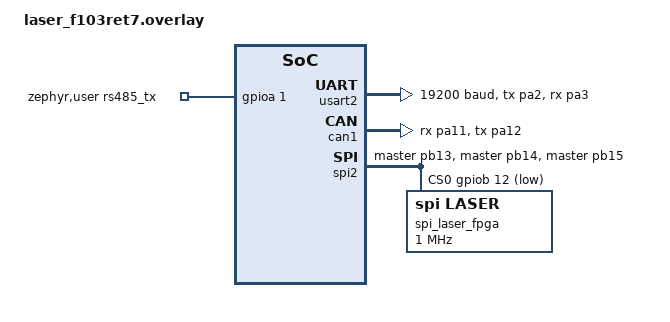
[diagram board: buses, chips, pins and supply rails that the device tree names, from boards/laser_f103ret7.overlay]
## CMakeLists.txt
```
# SPDX-License-Identifier: Apache-2.0

cmake_minimum_required(VERSION 3.20.0)

find_package(Zephyr REQUIRED HINTS $ENV{ZEPHYR_BASE})
project(laser_ctrl)

target_include_directories(app PRIVATE include)
target_sources(app PRIVATE
  src/main.c
  src/rs485.c
  src/flash.c
  src/can.c
  src/firmware.c
)

dt_nodelabel(dts_partition_path NODELABEL "spi_laser_fpga")
if (DEFINED dts_partition_path)
  target_sources(app PRIVATE src/fpga_spi.c)
endif()
```

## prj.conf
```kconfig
CONFIG_EVENTS=y
CONFIG_SYSTEM_WORKQUEUE_STACK_SIZE=2048

# shell
CONFIG_SHELL=y
CONFIG_FLASH_MAP_SHELL=y
CONFIG_FLASH_SHELL=y

# log
CONFIG_LOG=y

# can
CONFIG_CAN=y
CONFIG_CAN_SHELL=y

# img
CONFIG_IMG_MANAGER=y
CONFIG_STREAM_FLASH=y

# reboot
CONFIG_REBOOT=y
```

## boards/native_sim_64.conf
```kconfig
CONFIG_FLASH=y
CONFIG_FLASH_MAP=y
CONFIG_STREAM_FLASH=y
CONFIG_NVS=y
CONFIG_SETTINGS=y
CONFIG_SETTINGS_NVS=y
CONFIG_MAIN_STACK_SIZE=2048
CONFIG_REBOOT=y
CONFIG_UART_NATIVE_POSIX_PORT_1_ENABLE=y
```

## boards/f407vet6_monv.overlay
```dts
/{
	chosen {
		zephyr,canbus = &can1;
	};
	aliases {
		rs485 = &usart3;
	};
};

&usart3 {
	pinctrl-0 = <&usart3_tx_pb10 &usart3_rx_pb11>;
	pinctrl-names = "default";
	current-speed = <19200>;
	status = "okay";
};

&can1 {
	pinctrl-0 = <&can1_rx_pb8 &can1_tx_pb9>;
	pinctrl-names = "default";
	status = "okay";
};
```

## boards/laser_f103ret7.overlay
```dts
/{
	zephyr,user {
		rs485_tx-gpios = <&gpioa 1 GPIO_ACTIVE_HIGH>;
	};
	chosen {
		zephyr,canbus = &can1;
	};
	aliases {
		laser-serial = &usart2;
	};
};

&usart2 {
	pinctrl-0 = <&usart2_tx_pa2 &usart2_rx_pa3>;
	pinctrl-names = "default";
	current-speed = <19200>;
	status = "okay";
};

&can1 {
	pinctrl-0 = <&can_rx_pa11 &can_tx_pa12>;
	pinctrl-names = "default";
	status = "okay";
};

&spi2 {
	pinctrl-0 = <&spi2_sck_master_pb13 &spi2_miso_master_pb14 &spi2_mosi_master_pb15>;
	pinctrl-names = "default";
	cs-gpios = <&gpiob 12 GPIO_ACTIVE_LOW>;
	status = "okay";
	spi_laser_fpga: spi_laser_fpga@0 {
		compatible = "spi,laser";
		spi-max-frequency = <DT_FREQ_M(1)>;
		reg = <0>;
	};
};
```

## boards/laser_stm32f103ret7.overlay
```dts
/{
	zephyr,user {
		rs485_tx-gpios = <&gpiod 3 GPIO_ACTIVE_HIGH>;
	};
};

&usart2 {
	pinctrl-0 = <&usart2_tx_pa2 &usart2_rx_pa3>;
	pinctrl-names = "default";
	current-speed = <19200>;
	status = "okay";
};

&can1 {
	pinctrl-0 = <&can_rx_pa11 &can_tx_pa12>;
	pinctrl-names = "default";
	status = "okay";
};

&spi2 {
	pinctrl-0 = <&spi2_sck_master_pb13 &spi2_miso_master_pb14 &spi2_mosi_master_pb15>;
	pinctrl-names = "default";
	cs-gpios = <&gpiob 12 GPIO_ACTIVE_LOW>;
	status = "okay";
	spi_laser_fpga: spi_laser_fpga@0 {
		compatible = "spi,laser";
		spi-max-frequency = <DT_FREQ_M(1)>;
		reg = <0>;
	};
};
```

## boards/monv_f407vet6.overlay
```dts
&usart3 {
	pinctrl-0 = <&usart3_tx_pb10 &usart3_rx_pb11>;
	pinctrl-names = "default";
	current-speed = <19200>;
	parity = "even";
	stop-bits = "1";
	data-bits = <7>;
	status = "okay";
};

&can1 {
	pinctrl-0 = <&can1_rx_pb8 &can1_tx_pb9>;
	pinctrl-names = "default";
	status = "okay";
};
```

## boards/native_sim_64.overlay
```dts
/{
	chosen {
		zephyr,canbus = &can0;
		zephyr,settings-partition = &storage_partition;
	};
	aliases {
		laser-serial = &uart1;
	};
};

&uart1 {
	status = "okay";
};

&can0 {
	status = "okay";
	can-transceiver {
		min-bitrate = <15000>;
		max-bitrate = <1000000>;
	};
};
```

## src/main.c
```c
/*
 * Copyright (c) 2012-2014 Wind River Systems, Inc.
 *
 * SPDX-License-Identifier: Apache-2.0
 */

#include <zephyr/kernel.h>
#include <zephyr/app_version.h>

int main(void)
{
	printk("build time: %s-%s, board: %s, system clk: %dMHz, flash size: %dKB, version: %s\n",
	 __DATE__, __TIME__, CONFIG_BOARD_TARGET, CONFIG_SYS_CLOCK_HW_CYCLES_PER_SEC / 1000000,
	 CONFIG_FLASH_SIZE, APP_VERSION_STRING);

	return 0;
}
```

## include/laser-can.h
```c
#ifndef __LASER_CAN_H__
#define __LASER_CAN_H__
#include "laser-common.h"

enum {
	COB_ID1_RX = 0x664,
	COB_ID1_TX = 0x5E4,
	COB_ID2_RX = 0x665,
	COB_ID2_TX = 0x5E5,

	PLATFORM_RX   = 0x101,
	PLATFORM_TX   = 0x102,
	FW_DATA_RX    = 0x103,
};

#define CANRECSDOREADXAXISREALVAL  0x40466200
#define CANRECSDOREADYAXISREALVAL  0x40486200
#define CANRECSDOREADYAXIS         0x40026200
#define CANRECSDOWRITEYAXIS        0x22026200
#define CANRECSDOREADXAXIS         0x40016200
#define CANRECSDOWRITEXAXIS        0x22016200
#define CANRECSDOREADCONWORD       0x40406200
#define CANRECSDOWRITECONWORD      0x22406200
#define CANRECSDOWRITECONWORD_NEW  0x23406200
#define CANCMD_LASER_CTRL          0x22416200
#define CANCMD_LASER_CTRL_NEW      0x23416200
#define CANCMD_LASER_PEROID_CONF   0x22426200
#define CANCMD_LASER_PEROID_CONFN  0x23426200
#define CANCMD_LASER_PEROID_GET    0x40426200
#define CANWRITESYSTEMSTATUS       0x22000000
#define CANWRITESYSTEMSTATUS_NEW   0x23000000
#define CANREADSYSTEMSTATUS        0x40000000

#define CANCMD_LASER_CTRL_ENABLE   0x00000001
#define CANCMD_LASER_CTRL_DISABLE  0x00000000

#define CAN_HOST_MASK              0x00FFFFFF
#define CAN_HOST_ACK_ID            0x60000000
#define CAN_HOST_NOACK_ID          0x80000000

#define SYSTEMSTATUSINIT           0x00    // init status
#define SYSTEMSTATUSWORKING        0x01    // working status
#define SYSTEMSTATUSWORKREADERR    0x02    // init eeprom error
#define SYSTEMSTATUSINITERR        0x03    // init parameters error
#define SYSTEMSTATUSEEPROM         0x10    // eeprom writing status
#define SYSTEMSTATUSWRIERR         0x12    // writing eeprom error
#define SYSTEMSTATUSREADERR        0x11    // reading eeprom error

int cob_msg_send(uint32_t data1, uint32_t data2, uint32_t id);
int laser_can_send(struct can_frame *frame);
int cob_id664_process(struct can_frame *frame);
int cob_id665_process(struct can_frame *frame);

#include <zephyr/dfu/flash_img.h>
#include <zephyr/dfu/mcuboot.h>
#include <zephyr/storage/flash_map.h>

struct image_fw_msg {
	uint32_t total_size;
	uint32_t offset;
	struct flash_img_context flash_img_ctx;
};
int fw_update(struct can_frame *frame);

#endif
```

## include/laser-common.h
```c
#ifndef __LASER_COMMON_H__
#define __LASER_COMMON_H__
#include <zephyr/kernel.h>
#include <zephyr/drivers/can.h>

enum fw_error_code {
	FW_CODE_OFFSET,
	FW_CODE_UPDATE_SUCCESS,
	FW_CODE_VERSION,
	FW_CODE_CONFIRM,
	FW_CODE_FLASH_ERROR,
	FW_CODE_TRANFER_ERROR,
};

enum board_option {
	BOARD_START_UPDATE,
	BOARD_CONFIRM,
	BOARD_VERSION,
	BOARD_REBOOT,
};

enum {
	LASER_DEVICE_STATUS,
	LASER_WRITE_MODE,
	LASER_NEED_CLOSE,
	LASER_ON,
	LASER_CON_MESURE,
	LASER_FW_UPDATE,
};
extern atomic_t laser_status;
extern uint64_t latest_fw_up_times;

struct laser_encode_data {
	int64_t encode1: 20;
	int64_t encode2: 20;
	uint64_t laser_val: 24;
};

int laser_get_encode_data(struct laser_encode_data *val);


#endif
```

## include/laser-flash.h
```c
#ifndef __LASER__FLASH_H__
#define __LASER__FLASH_H__

#include "laser-common.h"

int laser_flash_write(uint16_t address, uint32_t val);
int laser_flash_read(uint16_t address, uint32_t *val);
int laser_flash_read_mode(void);
int laser_flash_write_mode(void);

extern bool write_mode, read_mode;

#endif
```

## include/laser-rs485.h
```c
#ifndef __LASER_RS485_H__
#define __LASER_RS485_H__

#include <zephyr/kernel.h>
int laser_stopclear(void);
int laser_on(void);
int laser_con_measure(uint32_t val);
extern bool laser_enabled;
#endif
```

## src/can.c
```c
#include <zephyr/kernel.h>
#include <laser-can.h>
#include <laser-rs485.h>
#include <laser-flash.h>
#include <zephyr/sys/byteorder.h>
#include <zephyr/logging/log.h>
LOG_MODULE_REGISTER(laser_can, LOG_LEVEL_INF);

static const struct device *can_dev = DEVICE_DT_GET(DT_CHOSEN(zephyr_canbus));
CAN_MSGQ_DEFINE(laser_can_msgq, 8);
#define USER_NODE DT_PATH(zephyr_user)
#if DT_NODE_HAS_PROP(USER_NODE, rs485_tx_gpios)
static struct k_work_delayable laser_delayed_work;
#endif
uint64_t latest_fw_up_times;
static uint32_t SystemStatus = SYSTEMSTATUSWORKING;
int16_t gcXaxisInitValue, gcYaxisInitValue;
atomic_t laser_status = ATOMIC_INIT(0);

int cob_msg_send(uint32_t data1, uint32_t data2, uint32_t id)
{
	struct can_frame frame = {
		.data_32 = {
			sys_cpu_to_be32(data1),
			sys_cpu_to_be32(data2),
		},
		.id = id,
		.dlc = can_bytes_to_dlc(8),
	};


	return laser_can_send(&frame);
}

static void laser_canrx_msg_handler(struct can_frame *frame)
{
	uint32_t ack_cmd;
	static uint32_t LaserPeriod = 100;

	switch (frame->id) {
	case COB_ID1_RX : {
		switch (sys_be32_to_cpu(frame->data_32[0])) {
		case CANRECSDOREADCONWORD:
			cob_msg_send(0x43406200, atomic_test_bit(&laser_status, LASER_DEVICE_STATUS), COB_ID1_TX);
			break;
		case CANRECSDOWRITECONWORD:
		case CANRECSDOWRITECONWORD_NEW:
			if (sys_be32_to_cpu(frame->data_32[1])) {
				LOG_DBG("device running");
				atomic_set_bit(&laser_status, LASER_DEVICE_STATUS);
			} else {
				LOG_DBG("device not running");
				atomic_clear_bit(&laser_status, LASER_DEVICE_STATUS);
			}
			cob_msg_send(0x60406200, sys_be32_to_cpu(frame->data_32[1]), COB_ID1_TX);
			break;
		case CANRECSDOREADYAXISREALVAL:
		case CANRECSDOREADXAXISREALVAL: {
			if (sys_be32_to_cpu(frame->data_32[0]) == CANRECSDOREADXAXISREALVAL)
				cob_msg_send(0x43466200, 0x1234, COB_ID1_TX);
			else
				cob_msg_send(0x43486200, 0x1234, COB_ID1_TX);
			}
			break;
		case CANRECSDOREADXAXIS:
			cob_msg_send(0x43016200, gcXaxisInitValue, COB_ID1_TX);
			break;
		case CANRECSDOREADYAXIS:
			cob_msg_send(0x43026200, gcYaxisInitValue, COB_ID1_TX);
			break;
		case CANRECSDOWRITEXAXIS:
			gcXaxisInitValue = sys_be32_to_cpu(frame->data_32[1]) & 0xFFFF;
			cob_msg_send(0x60016200, gcXaxisInitValue, COB_ID1_TX);
			break;
		case CANRECSDOWRITEYAXIS:
			gcYaxisInitValue = sys_be32_to_cpu(frame->data_32[1]) & 0xFFFF;
			cob_msg_send(0x60026200, gcYaxisInitValue, COB_ID1_TX);
			break;
		case CANREADSYSTEMSTATUS:
			SystemStatus = SYSTEMSTATUSWORKING;
			LOG_DBG("mem read mode");
			laser_flash_read_mode();
			cob_msg_send(SystemStatus, CANREADSYSTEMSTATUS, COB_ID1_TX);
			break;
		case CANWRITESYSTEMSTATUS:
		case CANWRITESYSTEMSTATUS_NEW:
			SystemStatus = SYSTEMSTATUSEEPROM;
			LOG_DBG("mem write mode");
			laser_flash_write_mode();
			cob_msg_send(SystemStatus, CANWRITESYSTEMSTATUS, COB_ID1_TX);
			break;
		case CANCMD_LASER_CTRL:
		case CANCMD_LASER_CTRL_NEW:
			ack_cmd = (CANCMD_LASER_CTRL & CAN_HOST_MASK)|CAN_HOST_NOACK_ID;
			if (sys_be32_to_cpu(frame->data_32[1]) == CANCMD_LASER_CTRL_ENABLE) {
				LOG_DBG("laser on and measure");
				if (laser_on() == 0) {
					if (laser_con_measure(LaserPeriod) == 0)
						ack_cmd = (CANCMD_LASER_CTRL & CAN_HOST_MASK)|CAN_HOST_ACK_ID;
				}
			} else if (sys_be32_to_cpu(frame->data_32[1]) == CANCMD_LASER_CTRL_DISABLE) {
#if DT_NODE_HAS_PROP(USER_NODE, rs485_tx_gpios)
				if (atomic_test_bit(&laser_status, LASER_ON) &&
					atomic_test_bit(&laser_status, LASER_CON_MESURE)) {
					atomic_set_bit(&laser_status, LASER_NEED_CLOSE);
					k_work_schedule(&laser_delayed_work, K_SECONDS(2));
				} else
#endif
				{
					if (laser_stopclear() == 0)
						ack_cmd = (CANCMD_LASER_CTRL & CAN_HOST_MASK)|CAN_HOST_ACK_ID;
				}
				LOG_DBG("laser stop");
			}
			cob_msg_send(ack_cmd, sys_be32_to_cpu(frame->data_32[1]), COB_ID1_TX);
			break;
		case CANCMD_LASER_PEROID_CONF:
		case CANCMD_LASER_PEROID_CONFN:
			ack_cmd = (CANCMD_LASER_PEROID_CONF & CAN_HOST_MASK)|CAN_HOST_ACK_ID;
			LaserPeriod = sys_be32_to_cpu(frame->data_32[1]);
			LOG_DBG("set period: %d", LaserPeriod);
			cob_msg_send(ack_cmd, sys_be32_to_cpu(frame->data_32[1]), COB_ID1_TX);
			break;
		case CANCMD_LASER_PEROID_GET:
			LOG_DBG("get period: %d", LaserPeriod);
			ack_cmd = (CANCMD_LASER_PEROID_GET & CAN_HOST_MASK)|CAN_HOST_ACK_ID;
			cob_msg_send(ack_cmd, LaserPeriod, COB_ID1_TX);
			break;
		default:
			LOG_ERR("Unkown command: 0x%x", sys_be32_to_cpu(frame->data_32[0]));
			break;
		}
	}
		break;
	case COB_ID2_RX : {
		if (frame->data[0] == 0x22) {
			uint32_t address = frame->data[1] + frame->data[2] * 10;
			uint32_t val = sys_be32_to_cpu(frame->data_32[1]);
			if (address == 0) address = 1;
			int ret = laser_flash_write(address-1, val);

			LOG_DBG("address: %d, val: 0x%x", address, val);
			if (ret) {
				cob_msg_send(0x12, val, COB_ID2_TX);
			} else {
				cob_msg_send(1, val, COB_ID2_TX);
			}
		} else if (frame->data[0] == 0x40) {
			uint32_t address = frame->data[1] + frame->data[2] * 10;
			uint32_t val;

			if (address == 0) address = 1;

			int ret = laser_flash_read(address - 1, &val);

			LOG_DBG("address: %d, val: 0x%x", address, val);
			if (ret) {
				cob_msg_send(0x11, val, COB_ID2_TX);
			} else {
				cob_msg_send(1, val, COB_ID2_TX);
			}
		}
	}
		break;
	case PLATFORM_RX:
	case FW_DATA_RX:
		latest_fw_up_times = k_uptime_get();
		fw_update(frame);
		break;
	default:
		LOG_ERR("can frame id (0x%x) is not support", frame->id);
	}
}

static void laser_cantx_callback(const struct device *dev, int error, void *user_data)
{
	uint32_t count = *(uint32_t *)user_data;
	if (error == 0) {
		if (!atomic_test_bit(&laser_status, LASER_FW_UPDATE))
			LOG_DBG("CAN frame #%u successfully sent", count);
	} else {
		LOG_ERR("failed to send CAN frame #%u (err %d)", count, error);
	}
}

#if DT_NODE_HAS_PROP(USER_NODE, rs485_tx_gpios)
static void laser_stop_work_handler(struct k_work *work)
{
	if (atomic_test_and_clear_bit(&laser_status, LASER_NEED_CLOSE)) {
		laser_stopclear();
	}
}
#endif

int laser_can_send(struct can_frame *frame)
{
	static uint32_t frame_count = 0;

	frame_count++;

	return can_send(can_dev, frame, K_MSEC(100), laser_cantx_callback, &frame_count);
}

bool check_can_device_ready(void)
{
	return DEVICE_API_IS(can, can_dev) && device_is_ready(can_dev);
}

int laser_can_init(void)
{
	int err = -1;
	uint8_t can_check_time = 0;

	while (can_check_time++ < 10) {
		if (check_can_device_ready()) break;
	}
	if (can_check_time >= 10) {
		LOG_ERR("can device is not ready");
		goto end;
	}

	if ((err = can_set_bitrate(can_dev, 250000)) != 0) {
		LOG_ERR("failed to set bitrate (err %d)", err);
		goto end;
	}

	if ((err = can_start(can_dev)) != 0) {
		LOG_ERR("failed to start CAN controller (err %d)", err);
		goto end;
	}

	laser_flash_read_mode();

	struct can_filter filter = {
		.mask = CAN_STD_ID_MASK
	};

	filter.id = COB_ID1_RX;
	can_add_rx_filter_msgq(can_dev, &laser_can_msgq, &filter);

	filter.id = COB_ID2_RX;
	can_add_rx_filter_msgq(can_dev, &laser_can_msgq, &filter);

	filter.id = PLATFORM_RX;
	can_add_rx_filter_msgq(can_dev, &laser_can_msgq, &filter);

	filter.id = FW_DATA_RX;
	can_add_rx_filter_msgq(can_dev, &laser_can_msgq, &filter);
end:
	return err;
}

void laser_can_process_thread(void)
{
	struct can_frame frame;

	if (laser_can_init() != 0) {
		LOG_ERR("can init failed");
		return;
	}

#if DT_NODE_HAS_PROP(USER_NODE, rs485_tx_gpios)
	k_work_init_delayable(&laser_delayed_work, laser_stop_work_handler);
	k_work_schedule(&laser_delayed_work, K_SECONDS(2));
#endif

	while (true) {
		if (k_msgq_get(&laser_can_msgq, &frame, K_FOREVER) == 0)
			laser_canrx_msg_handler(&frame);
	}
}

K_THREAD_DEFINE(laser_can, 2048, laser_can_process_thread, NULL, NULL, NULL, 11, 0, 0);
```

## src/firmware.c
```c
#include <laser-can.h>
#include <zephyr/sys/byteorder.h>
#include <zephyr/app_version.h>
#include <zephyr/sys/reboot.h>
#include <zephyr/logging/log.h>
LOG_MODULE_REGISTER(firmware_up, LOG_LEVEL_INF);

static void fw_can_recevie(uint32_t code, uint32_t offset)
{
	struct can_frame frame = {
		.id = PLATFORM_TX,
		.data_32 = {code, offset},
		.dlc = can_bytes_to_dlc(8),
	};

	laser_can_send(&frame);
}

int fw_update(struct can_frame *frame)
{
	static struct image_fw_msg msg;
	uint32_t size = can_dlc_to_bytes(frame->dlc);

	if (frame->id == PLATFORM_RX) {
		if (frame->data_32[0] == BOARD_START_UPDATE) {
			atomic_set_bit(&laser_status, LASER_FW_UPDATE);
			if (size != 8) {
				LOG_ERR("start update message size must 8");
				fw_can_recevie(FW_CODE_FLASH_ERROR, 0);
				atomic_clear_bit(&laser_status, LASER_FW_UPDATE);
				return -1;

			}
			memset(&msg, 0, sizeof(msg));
			if (flash_img_init(&msg.flash_img_ctx) != 0) {
				LOG_ERR("flash init failed");
				fw_can_recevie(FW_CODE_FLASH_ERROR, 0);
				atomic_clear_bit(&laser_status, LASER_FW_UPDATE);
				return -1;
			}
			if (flash_area_flatten(msg.flash_img_ctx.flash_area, 0, msg.flash_img_ctx.flash_area->fa_size) != 0) {
				LOG_ERR("flash erase failed");
				fw_can_recevie(FW_CODE_FLASH_ERROR, 0);
				atomic_clear_bit(&laser_status, LASER_FW_UPDATE);
				return -1;
			}
			msg.offset = 0;
			msg.total_size = frame->data_32[1];
			fw_can_recevie(FW_CODE_OFFSET, 0);
			LOG_INF("Start upgrade firmware, size:%d", msg.total_size);
		} else if (frame->data_32[0] == BOARD_CONFIRM) {
			flash_img_buffered_write(&msg.flash_img_ctx, frame->data, 0, true);
			if (msg.total_size != flash_img_bytes_written(&msg.flash_img_ctx)) {
				LOG_ERR("Download failed total: %d, %d", msg.total_size, flash_img_bytes_written(&msg.flash_img_ctx));
				fw_can_recevie(FW_CODE_TRANFER_ERROR, msg.offset);
				return -1;
			} else {
				LOG_INF("Download Finished, need reboot and finish system upgrade.");
			}
			boot_request_upgrade(frame->data_32[1]);
			fw_can_recevie(FW_CODE_CONFIRM, 0x55AA55AA);
		} else if (frame->data_32[0] == BOARD_VERSION) {
			fw_can_recevie(FW_CODE_VERSION, APPVERSION);
		} else if (frame->data_32[0] == BOARD_REBOOT) {
			sys_reboot(SYS_REBOOT_WARM);
		}
	} else if (frame->id == FW_DATA_RX) {
		if (flash_img_buffered_write(&msg.flash_img_ctx, frame->data, size, false)) {
			fw_can_recevie(FW_CODE_FLASH_ERROR, 0);
			atomic_clear_bit(&laser_status, LASER_FW_UPDATE);
			return -1;
		}
		msg.offset += size;
		if (msg.offset == msg.total_size) {
			LOG_INF("recived firmware: %d/%d", msg.offset, msg.total_size);
			fw_can_recevie(FW_CODE_UPDATE_SUCCESS, msg.total_size);
			atomic_clear_bit(&laser_status, LASER_FW_UPDATE);
		} else {
			if (msg.offset % 4096 == 0)
				LOG_INF("recived firmware: %d/%d", msg.offset, msg.total_size);
			if (msg.offset % 64 == 0)
				fw_can_recevie(FW_CODE_OFFSET, msg.offset);
		}
	}
	return 0;
}
```

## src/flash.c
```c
#include "laser-common.h"
#include <zephyr/kernel.h>
#include <zephyr/storage/flash_map.h>
#include <zephyr/logging/log.h>
LOG_MODULE_REGISTER(laser_flash, LOG_LEVEL_INF);

#ifdef CONFIG_BOARD_NATIVE_SIM
#define CFG_PARTITION    storage_partition
#else
#define CFG_PARTITION    cfg_partition
#endif
#define CFG_PARTITION_ID FIXED_PARTITION_ID(CFG_PARTITION)

static const struct flash_area *fa;
static uint32_t laser_regs[50];
bool inited;

static int laser_flash_init(void)
{
	if (flash_area_open(CFG_PARTITION_ID, &fa) != 0) {
		LOG_ERR("flash open failed");
		inited = false;
		return -1;
	}

	if (flash_area_read(fa, 0, laser_regs, sizeof(laser_regs)) != 0) {
		flash_area_close(fa);
		LOG_ERR("flash read failed");
		fa = NULL;
		return -1;
	}
	inited = true;
	return 0;
}

int laser_flash_read_mode(void)
{
	if (!inited) {
		if (laser_flash_init()) return -1;
	}
	atomic_clear_bit(&laser_status, LASER_WRITE_MODE);
	return 0;
}

int laser_flash_write_mode(void)
{
	if (!inited) {
		if (laser_flash_init()) return -1;
	}

	atomic_set_bit(&laser_status, LASER_WRITE_MODE);
	return 0;
}

int laser_flash_write(uint16_t address, uint32_t val)
{
	if (!atomic_test_bit(&laser_status, LASER_WRITE_MODE) ||
		atomic_test_bit(&laser_status, LASER_FW_UPDATE)) {
		LOG_ERR("Please enable write mode first");
		return -1;
	}
	if (address >= 50) {
		LOG_ERR("only support 50 regs");
		return -1;
	}
	if (laser_regs[address] != val) {
		laser_regs[address] = val;
		if (flash_area_flatten(fa, 0, 4096) == 0) {
			if (flash_area_write(fa, 0, laser_regs, sizeof(laser_regs)) == 0) {
				return 0;
			}
		}
	} else return 0;
	LOG_ERR("flash write failed");

	return -1;
}

int laser_flash_read(uint16_t address, uint32_t *val)
{
	if (!inited) {
		LOG_ERR("%s: flash error", __FUNCTION__);
		return -1;
	}
	if (address >= 50) {
		LOG_ERR("only support 50 regs");
		return -1;
	}
	*val = laser_regs[address];
	return 0;
}

#ifdef CONFIG_SHELL
#include <zephyr/shell/shell.h>
#include <stdlib.h>
static int cmd_lflash_mode(const struct shell *ctx, size_t argc, char **argv)
{
	if (argv[1][0] == '0' && argv[1][1] == '\0') {
		laser_flash_read_mode();
	} else if (argv[1][0] == '1' && argv[1][1] == '\0') {
		laser_flash_write_mode();
	} else {
		shell_print(ctx, "Usage: lfash mode 0 or lfash mode 1");
		return -1;
	}
	return 0;
}

static int cmd_lflash_write(const struct shell *ctx, size_t argc, char **argv)
{
	uint32_t l_buf;
	uint8_t regs = strtol(argv[1], NULL, 0);

	for (int i = 0; i < argc - 2; i++) {
		l_buf = strtol(argv[2 + i], NULL, 0);
		laser_flash_write(regs+i, l_buf);
	}

	return 0;
}

static int cmd_lflash_read(const struct shell *ctx, size_t argc, char **argv)
{
	uint8_t regs = strtol(argv[1], NULL, 0);
	uint32_t val;

	for (int i = 0; i < strtol(argv[2], NULL, 0); i++) {
		laser_flash_read(regs+i, &val);
		shell_print(ctx, "%d: 0x%x", regs+i, val);
	}
	return 0;
}

SHELL_STATIC_SUBCMD_SET_CREATE(sub_lflash_cmds,
			       SHELL_CMD_ARG(mode, NULL,
					     "set flash mode\n"
					     "Usage: mode <0/1> , 0: read mode, 1: write mode",
					     cmd_lflash_mode, 2, 0),
			       SHELL_CMD_ARG(write, NULL,
					     "write bytes to flash\n"
					     "Usage: write <reg> <word1> [<word2>..], reg < 256",
					     cmd_lflash_write, 3, 7),
			       SHELL_CMD_ARG(read, NULL,
					     "read bytes from flash\n"
					     "Usage: read <reg> <numbers>",
					     cmd_lflash_read, 3, 0),
			       SHELL_SUBCMD_SET_END);

SHELL_CMD_REGISTER(lflash, &sub_lflash_cmds, "Spi Flash commands", NULL);
#endif
```

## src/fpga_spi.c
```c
#include <stdlib.h>
#include <zephyr/kernel.h>
#include <zephyr/drivers/spi.h>
#include <zephyr/sys/util.h>
#include <laser-common.h>
#include <zephyr/logging/log.h>
LOG_MODULE_REGISTER(laser_spi, LOG_LEVEL_INF);

enum {
	VERSION_GET_REG = 0,
	TIMESTAMP_REG,
	ENCODE1_GET_REG,
	ENCODE2_GET_REG,
	FPGA_RESET = 0xA5,
};

static const struct spi_dt_spec spi_spec =
	SPI_DT_SPEC_GET(DT_NODELABEL(spi_laser_fpga), SPI_WORD_SET(8));

struct encode_msg {
	uint8_t reg;
  	uint64_t timecount:31;
  	uint64_t single_num:17;
  	int64_t mutli_num:16;
} __PACKED;

static int spi_tranfer(void *tx_buffer, void *rx_buffer, size_t size)
{
	const struct spi_buf tx_buffers = {.buf = tx_buffer, .len = size};
	const struct spi_buf rx_buffers = {.buf = rx_buffer, .len = size};

	const struct spi_buf_set tx_buf_set = {.buffers = &tx_buffers, .count = 1};
	const struct spi_buf_set rx_buf_set = {.buffers = &rx_buffers, .count = 1};

	return spi_transceive_dt(&spi_spec, &tx_buf_set, &rx_buf_set);
}

uint32_t fpga_uint32_version(void)
{
	uint8_t rx_buf[5] = {0}, tx_buf[5] = {0};

	tx_buf[0] = VERSION_GET_REG;
	if (spi_tranfer(tx_buf, rx_buf, sizeof(rx_buf))) {
		LOG_ERR("spi tranfer error");
		return -1;
	}

	return *(uint32_t *)(rx_buf+1);
}

uint32_t fpga_uint32_set(uint8_t reg, uint32_t val)
{
	uint8_t rx_buf[5] = {0}, tx_buf[5] = {0};

	tx_buf[0] = reg;
	*(uint32_t *)(tx_buf+1) = val;

	if (spi_tranfer(tx_buf, rx_buf, sizeof(rx_buf))) {
		LOG_ERR("spi tranfer error");
		return -1;
	}

	return 0;
}

static int encode_data_get(uint8_t reg, struct encode_msg *rx)
{
	struct encode_msg tx_buf;

	tx_buf.reg = reg;
	if (spi_tranfer(&tx_buf, rx, sizeof(tx_buf))) {
		LOG_ERR("spi tranfer error");
		return -1;
	}
	return 0;
}

int laser_get_encode_data(struct laser_encode_data *encode)
{
	static uint64_t local_previous_time = 0;
	static uint32_t fpga_previous_time1 = 0;
	static uint32_t fpga_previous_time2 = 0;
	uint32_t diff_l, diff_f;
	struct encode_msg msg1, msg2;
	int postion;
	uint64_t timestamp = k_uptime_get();

	// get encode data
	encode_data_get(ENCODE1_GET_REG, &msg1);
	encode_data_get(ENCODE2_GET_REG, &msg2);

	// local time
	if (local_previous_time == 0)
		diff_l = 0;
	else if (timestamp  < local_previous_time)
		diff_l = timestamp + (UINT64_MAX - local_previous_time);
	else
		diff_l = timestamp - local_previous_time;

	// encode1 time
	if (fpga_previous_time1 == 0)
		diff_f = 0;
	else if (msg2.timecount < fpga_previous_time1)
		diff_f = msg2.timecount + (BIT(31) - 1 - fpga_previous_time1);
	else
		diff_f = msg2.timecount - fpga_previous_time1;

	postion = msg1.mutli_num * BIT(17) + msg1.single_num;

	if (diff_l > diff_f && (diff_l - diff_f) > 1000)
		encode->encode1 = 0;
	else
		encode->encode1 = postion;

	// encode2 time
	if (fpga_previous_time2 == 0)
		diff_f = 0;
	else if (msg2.timecount < fpga_previous_time2)
		diff_f = msg2.timecount + (BIT(31) - 1 - fpga_previous_time2);
	else
		diff_f = msg2.timecount - fpga_previous_time2;

	postion = msg2.mutli_num * BIT(17) + msg2.single_num;

	if (diff_l > diff_f && (diff_l - diff_f) > 1000)
		encode->encode2 = 0;
	else
		encode->encode2 = postion;

	fpga_previous_time1 = msg1.timecount;
	fpga_previous_time2 = msg2.timecount;
	local_previous_time = timestamp;

	return 0;
}

static int fpga_spi_init(void)
{
	LOG_INF("fpge version: 0x%x", fpga_uint32_version());

	return 0;
}

SYS_INIT(fpga_spi_init, APPLICATION, 10);

#ifdef CONFIG_SHELL
#include <zephyr/shell/shell.h>
#include <stdlib.h>
static int shell_version_get(const struct shell *ctx, size_t argc, char **argv)
{
	shell_print(ctx, "fpge version: 0x%x", fpga_uint32_version());

	return 0;
}

static int shell_encode_get(const struct shell *ctx, size_t argc, char **argv)
{
	struct encode_msg rx_msg;
	uint8_t reg;

	switch (strtol(argv[1], NULL, 0)) {
	case 1:
		reg = ENCODE1_GET_REG;
		break;
	case 2:
		reg = ENCODE2_GET_REG;
		break;
	default:
		shell_print(ctx, "Usage: %s <1/2>", argv[0]);
		return -1;
	}
	if (encode_data_get(reg, &rx_msg) == 0) {
		shell_print(ctx, "timestamp: %d ms, single num: %d, mutil num: %d, postion: %ld",
	      rx_msg.timecount, rx_msg.single_num, rx_msg.mutli_num, rx_msg.mutli_num * BIT(17) + rx_msg.single_num);
		shell_print(ctx, "RX:");
	      	shell_hexdump(ctx, (void *)&rx_msg, sizeof(rx_msg));
	}
	return 0;
}

SHELL_STATIC_SUBCMD_SET_CREATE(sub_fpga_cmds,
			       SHELL_CMD_ARG(version, NULL,
					     "get fpga version\n"
					     "Usage: version",
					     shell_version_get, 1, 0),
			       SHELL_CMD_ARG(encode, NULL,
					     "get encode data\n"
					     "Usage: encode <1/2>",
					     shell_encode_get, 2, 0),
			       SHELL_SUBCMD_SET_END);

SHELL_CMD_REGISTER(fpga_encode, &sub_fpga_cmds, "fpga encode commands", NULL);
#endif
```

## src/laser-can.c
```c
#include <zephyr/kernel.h>
#include <laser-can.h>
#include <laser-rs485.h>
#include <laser-flash.h>
#include <zephyr/logging/log.h>
LOG_MODULE_REGISTER(laser_can, LOG_LEVEL_INF);

static const struct device *can_dev = DEVICE_DT_GET(DT_NODELABEL(can1));


static uint32_t frame_count;
K_MSGQ_DEFINE(laser_can_msgq, sizeof(struct laser_can_msg), 10, 4);

static void laser_cantx_callback(const struct device *dev, int error, void *user_data);
static void laser_canrx_callback(const struct device *dev, struct can_frame *frame, void *user_data);

static void laser_canrx_msg_handler(struct can_frame *frame)
{
	switch (frame->id) {
	case COB_ID1_RX:
		cob_id664_process(frame);
		break;
	case COB_ID2_RX:
		cob_id665_process(frame);
		break;
	case PLATFORM_RX:
	case FW_DATA_RX:
		fw_update(frame);
		break;
	default:
		LOG_ERR("can frame id (0x%x) is not support", frame->id);
	}
}

static void can_msg_process(struct k_work *work)
{
	struct laser_can_msg can_msg;
	int ret;

	if ((ret = k_msgq_get(&laser_can_msgq, &can_msg, K_NO_WAIT)) != 0) {
		LOG_ERR("error msg: msgq error: ret: %d", ret);
		return;
	}
	switch (can_msg.type) {
		case CAN_RX:
			laser_canrx_msg_handler(&can_msg.frame);
			break;
		case CAN_SEND:
			frame_count += 1;
			can_msg.count = frame_count;
			can_send(can_dev, &can_msg.frame, K_NO_WAIT, laser_cantx_callback, NULL);
			break;
		case CAN_TX_COM:
			if (can_msg.error == 0) {
				LOG_DBG("CAN frame #%u successfully sent", can_msg.count);
			} else {
				LOG_ERR("failed to send CAN frame #%u (err %d)", can_msg.count, can_msg.error);
			}
			break;
		default:
			LOG_ERR("error can msg");
			break;
	}
}
static K_WORK_DEFINE(laser_can_work, can_msg_process);

int laser_can_send(struct can_frame *frame)
{
	struct laser_can_msg lmsg;

	lmsg.type = CAN_SEND;
	lmsg.frame = *frame;

	k_msgq_put(&laser_can_msgq, &lmsg, K_NO_WAIT);
	k_work_submit(&laser_can_work);
	return 0;
}

static void laser_cantx_callback(const struct device *dev, int error, void *user_data)
{
	struct laser_can_msg msg;

	ARG_UNUSED(dev);
	msg.error = error;
	msg.type = CAN_TX_COM;

	k_msgq_put(&laser_can_msgq, &msg, K_NO_WAIT);
	k_work_submit(&laser_can_work);
}

static void laser_canrx_callback(const struct device *dev, struct can_frame *frame, void *user_data)
{
	struct laser_can_msg msg;
	msg.type = CAN_RX;
	msg.frame = *frame;

	k_msgq_put(&laser_can_msgq, &msg, K_NO_WAIT);
	k_work_submit(&laser_can_work);
}

bool check_can_device_ready(void)
{
	return DEVICE_API_IS(can, can_dev) && device_is_ready(can_dev);
}

int laser_can_init(void)
{
	int err = 0;
	struct can_filter filter = {0};

	if ((err = can_set_bitrate(can_dev, 250000)) != 0) {
		LOG_ERR("failed to set bitrate (err %d)", err);
		goto end;
	}

	if ((err = can_start(can_dev)) != 0) {
		LOG_ERR("failed to start CAN controller (err %d)", err);
		goto end;
	}
	laser_flash_read_mode();
	filter.id = COB_ID1_RX;
	filter.mask = CAN_STD_ID_MASK;
	err = can_add_rx_filter(can_dev, laser_canrx_callback, NULL, &filter);
	filter.id = COB_ID2_RX;
	err = can_add_rx_filter(can_dev, laser_canrx_callback, NULL, &filter);
	filter.id = PLATFORM_RX;
	err = can_add_rx_filter(can_dev, laser_canrx_callback, NULL, &filter);
	filter.id = FW_DATA_RX;
	err = can_add_rx_filter(can_dev, laser_canrx_callback, NULL, &filter);
end:
	return err;
}

void laser_data_process_handler(void)
{
	while (true) {
		k_sleep(K_MSEC(500));
		if (!atomic_test_bit(&laser_status, LASER_WRITE_MODE) &&
		!atomic_test_bit(&laser_status, LASER_FW_UPDATE) &&
		atomic_test_bit(&laser_status, LASER_ON)) {
			// send data
		}
	}
}

K_THREAD_DEFINE(laser_data, 1024, laser_data_process_handler, NULL, NULL, NULL, 12, 0, 0);
```

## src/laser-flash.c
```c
#include "laser-common.h"
#include "zephyr/sys/atomic.h"
#include <zephyr/kernel.h>
#include <zephyr/storage/flash_map.h>
#include <zephyr/logging/log.h>
LOG_MODULE_REGISTER(laser_flash, LOG_LEVEL_INF);

#define CFG_PARTITION    cfg_partition
#define CFG_PARTITION_ID FIXED_PARTITION_ID(CFG_PARTITION)

static const struct flash_area *fa;
static uint32_t laser_regs[50];
bool inited, write_mode, read_mode;

static int laser_flash_init(void)
{
	if (flash_area_open(CFG_PARTITION_ID, &fa) != 0) {
		LOG_ERR("flash open failed");
		inited = false;
		return -1;
	}

	if (flash_area_read(fa, 0, laser_regs, sizeof(laser_regs)) != 0) {
		flash_area_close(fa);
		LOG_ERR("flash read failed");
		fa = NULL;
		return -1;
	}
	inited = true;
	return 0;
}

int laser_flash_read_mode(void)
{
	if (!inited) {
		if (laser_flash_init()) return -1;
	}
	if (inited) {
		flash_area_close(fa);
		fa = NULL;
		inited = false;
	}
	atomic_clear_bit(&laser_status, LASER_WRITE_MODE);
	return 0;
}

int laser_flash_write_mode(void)
{
	if (!inited) {
		if (laser_flash_init()) return -1;
	}

	atomic_set_bit(&laser_status, LASER_WRITE_MODE);
	return 0;
}

int laser_flash_write(uint16_t address, uint32_t val)
{
	if (atomic_test_bit(&laser_status, LASER_WRITE_MODE) &&
		!atomic_test_bit(&laser_status, LASER_FW_UPDATE)) {
		LOG_ERR("Please enable write mode first");
		return -1;
	}
	if (address < 50) {
		laser_regs[address] = val;
	}
	if (flash_area_flatten(fa, 0, 4096) == 0) {
		if (flash_area_write(fa, 0, laser_regs, sizeof(laser_regs)) == 0) {
			return 0;
		}
	}
	LOG_ERR("flash write failed");

	return -1;
}

int laser_flash_read(uint16_t address, uint32_t *val)
{
	if (!inited) {
		LOG_ERR("%s: flash error", __FUNCTION__);
		return -1;
	}
	if (address < 50) {
		*val = laser_regs[address];
	}
	return 0;
}

#ifdef CONFIG_SHELL
#include <zephyr/shell/shell.h>
#include <stdlib.h>
static int cmd_lflash_mode(const struct shell *ctx, size_t argc, char **argv)
{
	if (argv[1][0] == '0' && argv[1][1] == '\0') {
		laser_flash_read_mode();
	} else if (argv[1][0] == '0' && argv[1][1] == '\0') {
		laser_flash_write_mode();
	} else {
		shell_print(ctx, "Usage: lfash mode 0 or lfash mode 1");
		return -1;
	}
	return 0;
}

static int cmd_lflash_write(const struct shell *ctx, size_t argc, char **argv)
{
	uint32_t l_buf;
	uint8_t regs = strtol(argv[1], NULL, 0);

	for (int i = 0; i < argc - 2; i++) {
		l_buf = strtol(argv[2 + i], NULL, 0);
		laser_flash_write(regs+i, l_buf);
	}

	return 0;
}

static int cmd_lflash_read(const struct shell *ctx, size_t argc, char **argv)
{
	uint8_t regs = strtol(argv[1], NULL, 0);
	uint32_t val;

	for (int i = 0; i < strtol(argv[2], NULL, 0); i++) {
		laser_flash_read(regs+i, &val);
		shell_print(ctx, "%d: 0x%x", regs+i, val);
	}
	return 0;
}

SHELL_STATIC_SUBCMD_SET_CREATE(sub_lflash_cmds,
			       SHELL_CMD_ARG(mode, NULL,
					     "set flash mode\n"
					     "Usage: mode <0/1> , 0: read mode, 1: write mode",
					     cmd_lflash_mode, 2, 0),
			       SHELL_CMD_ARG(write, NULL,
					     "write bytes to flash\n"
					     "Usage: write <reg> <word1> [<word2>..], reg < 256",
					     cmd_lflash_write, 3, 7),
			       SHELL_CMD_ARG(read, NULL,
					     "read bytes from flash\n"
					     "Usage: read <reg> <numbers>",
					     cmd_lflash_read, 3, 0),
			       SHELL_SUBCMD_SET_END);

SHELL_CMD_REGISTER(lflash, &sub_lflash_cmds, "Spi Flash commands", NULL);
#endif
```

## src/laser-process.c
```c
#include <laser-can.h>
#include <laser-flash.h>
#include <laser-rs485.h>
#include <zephyr/sys/byteorder.h>
#include <zephyr/logging/log.h>
LOG_MODULE_REGISTER(laser_process, LOG_LEVEL_DBG);

static int cob_msg_send(uint8_t command, uint8_t index0, uint8_t index1,
			uint8_t subindex, uint32_t data, uint32_t id)
{
	struct can_frame frame;


	frame.data[0] = command;
	frame.data[1] = index0;
	frame.data[2] = index1;
	frame.data[3] = subindex;
	frame.data_32[1] = sys_cpu_to_be32(data);

	frame.id = id;
	frame.dlc = can_bytes_to_dlc(8);

	return laser_can_send(&frame);
}

static int laser_can_enable(bool enable)
{
	LOG_DBG("enable: %d", enable);
	if (enable) {
		laser_on();
	} else {
		laser_stopclear();
	}
	cob_msg_send(0x60, 0x41, 0x62, 0x0, enable, COB_ID1_TX);
	return 0;
}

static int laser_get_collectperiod(void)
{
	uint32_t val = 0;

	// TODO
	LOG_DBG("val: 0x%x", val);

	cob_msg_send(0x60, 0x42, 0x62, 0x0, val, COB_ID1_TX);
	return 0;
}

static int laser_set_collectperiod(uint32_t val)
{
	laser_con_measure(val);
	LOG_DBG("val: 0x%x", val);
	cob_msg_send(0x60, 0x42, 0x62, 0x0, 1, COB_ID1_TX);
	return 0;
}

static int laser_mem_writemode(void)
{
	laser_flash_write_mode();
	LOG_DBG("mem write mode");
	cob_msg_send(0x00, 0x0, 0x0, 0x1, 0x22000000, COB_ID1_TX);
	return 0;
}

static int laser_mem_readmode(void)
{
	laser_flash_read_mode();
	LOG_DBG("mem read mode");
	cob_msg_send(0x00, 0x0, 0x0, 0x1, 0x40000000, COB_ID1_TX);
	return 0;
}

static int laser_mem_writedata(uint16_t address, uint32_t val)
{
	int ret = laser_flash_write(address, val);

	LOG_DBG("address: %d, val: 0x%x", address, val);

	if (ret == 0) {
		cob_msg_send(0x00, 0x0, 0x0, 0x1, val, COB_ID2_TX);
	} else {
		cob_msg_send(0x00, 0x0, 0x0, 0x12, ret, COB_ID2_TX);
	}
	return 0;
}

static int laser_mem_readdata(uint16_t address)
{
	uint32_t val;
	int ret = laser_flash_read(address, &val);

	LOG_DBG("address: %d, val: 0x%x", address, val);
	if (ret == 0) {
		cob_msg_send(0x00, 0x0, 0x0, 0x1, val, COB_ID2_TX);
	} else {
		cob_msg_send(0x00, 0x0, 0x0, 0x12, ret, COB_ID2_TX);
	}
	return 0;
}

int cob_id664_process(struct can_frame *frame)
{

	if (frame->data[0] == 0x22) {
		if (frame->data[1] == 0x0 && frame->data[2] == 0x0) {
			laser_mem_writemode();
		} else if (frame->data[1] == 0x41 && frame->data[2] == 0x62) {
			switch (sys_be32_to_cpu(frame->data_32[1])) {
			case 0:
				laser_can_enable(false);
				break;
			case 1:
				laser_can_enable(true);
				break;
			}
		} else if (frame->data[1] == 0x42 && frame->data[2] == 0x62) {
			laser_set_collectperiod(sys_be32_to_cpu(frame->data_32[1]));
		}
	} else if (frame->data[0] == 0x40) {
		if (frame->data[1] == 0x0 && frame->data[2] == 0x0) {
			laser_mem_readmode();
		} else if (frame->data[1] == 0x42 && frame->data[2] == 0x62) {
			laser_get_collectperiod();
		}
	}

	return 0;
}

int cob_id665_process(struct can_frame *frame)
{

	if (frame->data[0] == 0x22) {
		uint32_t address = frame->data[1] + frame->data[2] * 10;
		laser_mem_writedata(address, sys_be32_to_cpu(frame->data_32[1]));
	} else if (frame->data[0] == 0x40) {
		uint32_t address = frame->data[1] + frame->data[2] * 10;
		laser_mem_readdata(address);
	}

	return 0;
}
```

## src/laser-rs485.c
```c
#include <zephyr/device.h>
#include <zephyr/drivers/uart.h>
#include <zephyr/drivers/gpio.h>
#include <zephyr/kernel.h>
#include <zephyr/logging/log.h>
#include <laser-common.h>
LOG_MODULE_REGISTER(laser_rs485, LOG_LEVEL_INF);

#define USER_NODE DT_PATH(zephyr_user)
#if defined(CONFIG_BOARD_MONV_F407VET6)
static const struct device *uart_dev = DEVICE_DT_GET(DT_NODELABEL(usart3));
#elif defined(CONFIG_BOARD_LASER_STM32F103RET7)
static const struct device *uart_dev = DEVICE_DT_GET(DT_NODELABEL(usart2));
#endif

#if DT_NODE_HAS_PROP(USER_NODE, rs485_tx_gpios)
static const struct gpio_dt_spec rs485tx_gpios = GPIO_DT_SPEC_GET(USER_NODE, rs485_tx_gpios);
#endif
static uint8_t rx_buf[128];

static void uart_cb(const struct device *dev, void *user_data)
{
	while (uart_irq_update(dev) && uart_irq_rx_ready(dev)) {
		int len = uart_fifo_read(dev, rx_buf, sizeof(rx_buf));
		if (len > 0) {
			LOG_HEXDUMP_INF(rx_buf, len, "RX:");
		}
	}
}

static void rs485_send(const uint8_t *data, size_t len)
{
#if DT_NODE_HAS_PROP(USER_NODE, rs485_tx_gpios)
	gpio_pin_set_dt(&rs485tx_gpios, 1);
	k_busy_wait(30);
#endif

	for (size_t i = 0; i < len; i++) {
		uart_poll_out(uart_dev, data[i]);
	}

#if DT_NODE_HAS_PROP(USER_NODE, rs485_tx_gpios)
	k_busy_wait(30);
	gpio_pin_set_dt(&rs485tx_gpios, 0);
#endif
}

int laser_stopclear(void)
{
	uint8_t data[] = {0x73, 0x30, 0x63, 0x0D, 0x0A};

	rs485_send(data, sizeof(data));
	return 0;
}

int laser_on(void)
{
	uint8_t data[] = {0x73, 0x30, 0x6F, 0x2B, 0x31, 0x0D, 0x0A};

	rs485_send(data, sizeof(data));

	return 0;
}

int laser_con_measure(uint32_t val)
{
	uint8_t data[32] = {0x73, 0x30, 0x68, 0x2B};
	int offset = 4;

	offset += snprintf(data+offset, sizeof(data)-offset, "%d", val);
	data[offset] = 0x0D;
	data[offset+1] = 0x0A;
	offset += 2;

	rs485_send(data, offset);

	return 0;
}

static int rs485_init(void)
{

	struct uart_config uart_cfg = {.baudrate = 19200,
				       .parity = UART_CFG_PARITY_EVEN,
				       .stop_bits = UART_CFG_STOP_BITS_1,
				       .data_bits = UART_CFG_DATA_BITS_7,
				       .flow_ctrl = UART_CFG_FLOW_CTRL_NONE};

	uart_configure(uart_dev, &uart_cfg);

#if DT_NODE_HAS_PROP(USER_NODE, rs485_tx_gpios)
	gpio_pin_configure_dt(&rs485tx_gpios, GPIO_OUTPUT_INACTIVE);
#endif

	uart_irq_callback_set(uart_dev, uart_cb);
	uart_irq_rx_enable(uart_dev);

	return 0;
}

SYS_INIT(rs485_init, APPLICATION, 10);

#ifdef CONFIG_SHELL
#include <zephyr/shell/shell.h>
static int cmd_rs485_write(const struct shell *ctx, size_t argc, char **argv)
{
	rs485_send(argv[1], strlen(argv[1]));
	return 0;
}

SHELL_STATIC_SUBCMD_SET_CREATE(sub_rs485_cmds,
			       SHELL_CMD_ARG(send, NULL,
					     "rs485 send\n"
					     "Usage: send <strings>",
					     cmd_rs485_write, 2, 0),
			       SHELL_SUBCMD_SET_END);

SHELL_CMD_REGISTER(rs485, &sub_rs485_cmds, "rs485 commands", NULL);
#endif
```
